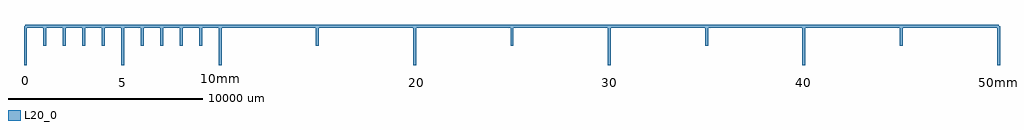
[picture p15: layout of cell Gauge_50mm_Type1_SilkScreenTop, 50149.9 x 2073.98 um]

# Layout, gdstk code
import gdstk
lib = gdstk.Library(unit=1e-6, precision=1e-09)
L20_0 = (20, 0)

gauge_50mm_type1_silkscr = lib.new_cell('Gauge_50mm_Type1_SilkScreenTop')
gauge_50mm_type1_silkscr.add(gdstk.FlexPath([(9999.98,0),(9999.98,-1998.98)], 149.998, ends="flush", simple_path=True, layer=20, datatype=0))  # L20_0
gauge_50mm_type1_silkscr.add(gdstk.FlexPath([(0,0),(9999.98,0)], 149.998, ends="flush", simple_path=True, layer=20, datatype=0))  # L20_0
gauge_50mm_type1_silkscr.add(gdstk.FlexPath([(0,0),(0,-1998.98)], 149.998, ends="flush", simple_path=True, layer=20, datatype=0))  # L20_0
gauge_50mm_type1_silkscr.add(gdstk.FlexPath([(5001.26,0),(5001.26,-1998.98)], 149.998, ends="flush", simple_path=True, layer=20, datatype=0))  # L20_0
gauge_50mm_type1_silkscr.add(gdstk.FlexPath([(1000.76,0),(1000.76,-1000.76)], 149.998, ends="flush", simple_path=True, layer=20, datatype=0))  # L20_0
gauge_50mm_type1_silkscr.add(gdstk.FlexPath([(1998.98,0),(1998.98,-1000.76)], 149.998, ends="flush", simple_path=True, layer=20, datatype=0))  # L20_0
gauge_50mm_type1_silkscr.add(gdstk.FlexPath([(2999.74,0),(2999.74,-1000.76)], 149.998, ends="flush", simple_path=True, layer=20, datatype=0))  # L20_0
gauge_50mm_type1_silkscr.add(gdstk.FlexPath([(4000.5,0),(4000.5,-1000.76)], 149.998, ends="flush", simple_path=True, layer=20, datatype=0))  # L20_0
gauge_50mm_type1_silkscr.add(gdstk.FlexPath([(5999.48,0),(5999.48,-1000.76)], 149.998, ends="flush", simple_path=True, layer=20, datatype=0))  # L20_0
gauge_50mm_type1_silkscr.add(gdstk.FlexPath([(7000.24,0),(7000.24,-1000.76)], 149.998, ends="flush", simple_path=True, layer=20, datatype=0))  # L20_0
gauge_50mm_type1_silkscr.add(gdstk.FlexPath([(8001,0),(8001,-1000.76)], 149.998, ends="flush", simple_path=True, layer=20, datatype=0))  # L20_0
gauge_50mm_type1_silkscr.add(gdstk.FlexPath([(8999.22,0),(8999.22,-1000.76)], 149.998, ends="flush", simple_path=True, layer=20, datatype=0))  # L20_0
gauge_50mm_type1_silkscr.add(gdstk.FlexPath([(15001.24,0),(15001.24,-1000.76)], 149.998, ends="flush", simple_path=True, layer=20, datatype=0))  # L20_0
gauge_50mm_type1_silkscr.add(gdstk.FlexPath([(19999.96,0),(19999.96,-1998.98)], 149.998, ends="flush", simple_path=True, layer=20, datatype=0))  # L20_0
gauge_50mm_type1_silkscr.add(gdstk.FlexPath([(25001.22,0),(25001.22,-1000.76)], 149.998, ends="flush", simple_path=True, layer=20, datatype=0))  # L20_0
gauge_50mm_type1_silkscr.add(gdstk.FlexPath([(29999.94,0),(29999.94,-1998.98)], 149.998, ends="flush", simple_path=True, layer=20, datatype=0))  # L20_0
gauge_50mm_type1_silkscr.add(gdstk.FlexPath([(35001.2,0),(35001.2,-1000.76)], 149.998, ends="flush", simple_path=True, layer=20, datatype=0))  # L20_0
gauge_50mm_type1_silkscr.add(gdstk.FlexPath([(39999.92,0),(39999.92,-1998.98)], 149.998, ends="flush", simple_path=True, layer=20, datatype=0))  # L20_0
gauge_50mm_type1_silkscr.add(gdstk.FlexPath([(45001.18,0),(45001.18,-1000.76)], 149.998, ends="flush", simple_path=True, layer=20, datatype=0))  # L20_0
gauge_50mm_type1_silkscr.add(gdstk.FlexPath([(49999.9,0),(49999.9,-1998.98)], 149.998, ends="flush", simple_path=True, layer=20, datatype=0))  # L20_0
gauge_50mm_type1_silkscr.add(gdstk.FlexPath([(9999.98,0),(49999.9,0)], 149.998, ends="flush", simple_path=True, layer=20, datatype=0))  # L20_0
gauge_50mm_type1_silkscr.add(gdstk.Label('10mm', (9999.98,-2700.02), layer=9, texttype=0))
gauge_50mm_type1_silkscr.add(gdstk.Label('0', (0,-2799.08), layer=9, texttype=0))
gauge_50mm_type1_silkscr.add(gdstk.Label('5', (4998.72,-2900.68), layer=9, texttype=0))
gauge_50mm_type1_silkscr.add(gdstk.Label('20', (20099.02,-2900.68), layer=9, texttype=0))
gauge_50mm_type1_silkscr.add(gdstk.Label('30', (29999.94,-2999.74), layer=9, texttype=0))
gauge_50mm_type1_silkscr.add(gdstk.Label('40', (39999.92,-3101.34), layer=9, texttype=0))
gauge_50mm_type1_silkscr.add(gdstk.Label('50mm', (49999.9,-3101.34), layer=9, texttype=0))
gauge_50mm_type1_silkscr.add(gdstk.Label('type', (24000.46,-6400.8), layer=9, texttype=0))
gauge_50mm_type1_silkscr.add(gdstk.Label('devicename', (0,2999.74), layer=9, texttype=0))

lib.write_gds('Gauge_50mm_Type1_SilkScreenTop.gds')
